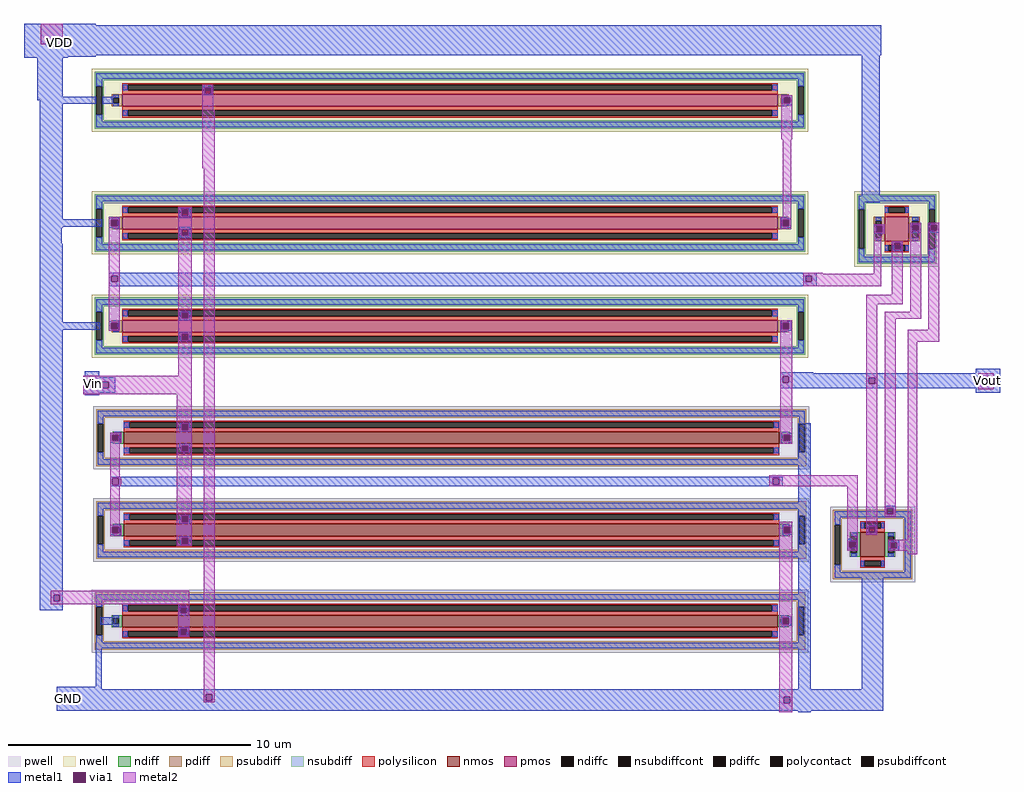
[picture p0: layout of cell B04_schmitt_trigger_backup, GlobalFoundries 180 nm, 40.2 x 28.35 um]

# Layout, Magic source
magic
tech gf180mcuD
magscale 1 10
<< metal1 >>
rect 2240 -1250 2830 -1240
rect 2240 -1500 9300 -1250
rect 2240 -1510 2830 -1500
rect 2240 -1520 2600 -1510
rect 2350 -1840 2560 -1520
rect 3720 -1760 3790 -1757
rect 3710 -1763 3800 -1760
rect 3710 -1815 3729 -1763
rect 3781 -1815 3800 -1763
rect 3710 -1830 3800 -1815
rect 2350 -1870 2837 -1840
rect 2370 -1900 2837 -1870
rect 2883 -1900 2975 -1840
rect 8480 -1844 8570 -1830
rect 8480 -1896 8499 -1844
rect 8551 -1896 8570 -1844
rect 2370 -2850 2560 -1900
rect 8480 -1910 8570 -1896
rect 9140 -2710 9290 -1500
rect 3530 -2769 3600 -2760
rect 3530 -2770 3539 -2769
rect 3520 -2821 3539 -2770
rect 3591 -2770 3600 -2769
rect 3591 -2821 3610 -2770
rect 3520 -2840 3610 -2821
rect 2940 -2850 3000 -2840
rect 2370 -2910 2880 -2850
rect 2940 -2854 3020 -2850
rect 2940 -2906 2959 -2854
rect 3011 -2906 3020 -2854
rect 2940 -2910 3020 -2906
rect 8480 -2854 8560 -2840
rect 8480 -2906 8489 -2854
rect 8541 -2906 8560 -2854
rect 2370 -2920 2560 -2910
rect 2940 -2920 3000 -2910
rect 2370 -3050 2550 -2920
rect 3520 -2934 3610 -2910
rect 8480 -2920 8560 -2906
rect 9240 -2904 9330 -2890
rect 3520 -2986 3539 -2934
rect 3591 -2986 3610 -2934
rect 9240 -2956 9259 -2904
rect 9311 -2956 9330 -2904
rect 9240 -2970 9330 -2956
rect 9540 -2894 9630 -2880
rect 9540 -2946 9559 -2894
rect 9611 -2946 9630 -2894
rect 9540 -2960 9630 -2946
rect 9690 -2894 9780 -2880
rect 9690 -2946 9709 -2894
rect 9761 -2946 9780 -2894
rect 9690 -2960 9780 -2946
rect 3520 -2990 3610 -2986
rect 3530 -3000 3600 -2990
rect 9390 -3044 9480 -3030
rect 2370 -3700 2560 -3050
rect 9390 -3096 9409 -3044
rect 9461 -3096 9480 -3044
rect 9390 -3110 9480 -3096
rect 2940 -3314 8770 -3290
rect 2940 -3366 2959 -3314
rect 3011 -3366 8679 -3314
rect 8731 -3366 8770 -3314
rect 2940 -3400 8770 -3366
rect 3520 -3614 3610 -3610
rect 3520 -3666 3539 -3614
rect 3591 -3666 3610 -3614
rect 3520 -3680 3610 -3666
rect 2940 -3700 2980 -3690
rect 8490 -3700 8560 -3690
rect 2370 -3760 2870 -3700
rect 2940 -3704 3020 -3700
rect 2940 -3756 2959 -3704
rect 3011 -3756 3020 -3704
rect 2940 -3760 3020 -3756
rect 8480 -3704 8560 -3700
rect 8480 -3756 8489 -3704
rect 8541 -3756 8560 -3704
rect 8480 -3760 8560 -3756
rect 2370 -5944 2560 -3760
rect 2940 -3770 2980 -3760
rect 8490 -3770 8560 -3760
rect 3520 -3794 3610 -3780
rect 3520 -3846 3539 -3794
rect 3591 -3846 3610 -3794
rect 3520 -3850 3610 -3846
rect 2740 -4150 2860 -4100
rect 8470 -4120 8740 -4110
rect 10080 -4120 10280 -4080
rect 8470 -4144 10280 -4120
rect 2730 -4189 2990 -4150
rect 2730 -4241 2782 -4189
rect 2938 -4241 2990 -4189
rect 8470 -4196 8489 -4144
rect 8541 -4154 10139 -4144
rect 8541 -4196 9199 -4154
rect 8470 -4206 9199 -4196
rect 9251 -4196 10139 -4154
rect 10191 -4196 10280 -4144
rect 9251 -4206 10280 -4196
rect 8470 -4240 10280 -4206
rect 2730 -4280 2990 -4241
rect 10080 -4280 10280 -4240
rect 2740 -4300 2860 -4280
rect 3530 -4534 3600 -4530
rect 3530 -4560 3539 -4534
rect 3520 -4586 3539 -4560
rect 3591 -4560 3600 -4534
rect 3591 -4586 3610 -4560
rect 3520 -4600 3610 -4586
rect 2950 -4624 3030 -4610
rect 2950 -4676 2969 -4624
rect 3021 -4676 3030 -4624
rect 2950 -4690 3030 -4676
rect 8480 -4620 8560 -4610
rect 8480 -4624 8570 -4620
rect 8480 -4676 8499 -4624
rect 8551 -4676 8570 -4624
rect 8480 -4680 8570 -4676
rect 8480 -4690 8560 -4680
rect 3520 -4714 3610 -4700
rect 3520 -4740 3539 -4714
rect 3530 -4766 3539 -4740
rect 3591 -4740 3610 -4714
rect 3591 -4766 3600 -4740
rect 3530 -4770 3600 -4766
rect 2950 -4984 8490 -4970
rect 2950 -5036 2969 -4984
rect 3021 -5036 8409 -4984
rect 8461 -5036 8490 -4984
rect 2950 -5050 8490 -5036
rect 3530 -5294 3600 -5290
rect 3530 -5320 3539 -5294
rect 3520 -5346 3539 -5320
rect 3591 -5320 3600 -5294
rect 3591 -5346 3610 -5320
rect 3520 -5360 3610 -5346
rect 2950 -5384 3030 -5370
rect 8530 -5380 8570 -5370
rect 2950 -5436 2969 -5384
rect 3021 -5436 3030 -5384
rect 2950 -5450 3030 -5436
rect 8490 -5384 8570 -5380
rect 8490 -5436 8499 -5384
rect 8551 -5436 8570 -5384
rect 8490 -5440 8570 -5436
rect 8530 -5450 8570 -5440
rect 3520 -5474 3610 -5460
rect 3520 -5500 3539 -5474
rect 3530 -5526 3539 -5500
rect 3591 -5500 3610 -5474
rect 3591 -5526 3600 -5500
rect 3530 -5530 3600 -5526
rect 2370 -5996 2484 -5944
rect 2536 -5996 2560 -5944
rect 2370 -6070 2560 -5996
rect 3510 -6044 3600 -6040
rect 3510 -6096 3529 -6044
rect 3581 -6096 3600 -6044
rect 3510 -6110 3600 -6096
rect 2870 -6190 3000 -6130
rect 8480 -6134 8560 -6120
rect 8480 -6186 8489 -6134
rect 8541 -6186 8560 -6134
rect 8480 -6200 8560 -6186
rect 3510 -6224 3600 -6210
rect 3510 -6270 3529 -6224
rect 3520 -6276 3529 -6270
rect 3581 -6270 3600 -6224
rect 3581 -6276 3590 -6270
rect 3520 -6280 3590 -6276
rect 2830 -6700 2880 -6340
rect 2510 -6720 2880 -6700
rect 8620 -6720 8720 -4530
rect 9330 -5229 9420 -5210
rect 9330 -5281 9349 -5229
rect 9401 -5281 9420 -5229
rect 9330 -5290 9420 -5281
rect 9190 -5379 9260 -5370
rect 9190 -5380 9199 -5379
rect 9180 -5431 9199 -5380
rect 9251 -5380 9260 -5379
rect 9251 -5431 9270 -5380
rect 9180 -5450 9270 -5431
rect 9020 -5500 9060 -5480
rect 9020 -5504 9100 -5500
rect 9020 -5556 9039 -5504
rect 9091 -5556 9100 -5504
rect 9020 -5560 9100 -5556
rect 9370 -5509 9450 -5490
rect 9020 -5570 9060 -5560
rect 9370 -5561 9379 -5509
rect 9431 -5561 9450 -5509
rect 9370 -5580 9450 -5561
rect 9140 -6720 9320 -5760
rect 2510 -6764 9320 -6720
rect 2510 -6816 3739 -6764
rect 3791 -6784 9320 -6764
rect 3791 -6816 8499 -6784
rect 2510 -6836 8499 -6816
rect 8551 -6836 9320 -6784
rect 2510 -6900 9320 -6836
rect 8620 -6910 8720 -6900
<< via1 >>
rect 3729 -1815 3781 -1763
rect 8499 -1896 8551 -1844
rect 3539 -2821 3591 -2769
rect 2959 -2906 3011 -2854
rect 8489 -2906 8541 -2854
rect 3539 -2986 3591 -2934
rect 9259 -2956 9311 -2904
rect 9559 -2946 9611 -2894
rect 9709 -2946 9761 -2894
rect 9409 -3096 9461 -3044
rect 2959 -3366 3011 -3314
rect 8679 -3366 8731 -3314
rect 3539 -3666 3591 -3614
rect 2959 -3756 3011 -3704
rect 8489 -3756 8541 -3704
rect 3539 -3846 3591 -3794
rect 2782 -4241 2938 -4189
rect 8489 -4196 8541 -4144
rect 9199 -4206 9251 -4154
rect 10139 -4196 10191 -4144
rect 3539 -4586 3591 -4534
rect 2969 -4676 3021 -4624
rect 8499 -4676 8551 -4624
rect 3539 -4766 3591 -4714
rect 2969 -5036 3021 -4984
rect 8409 -5036 8461 -4984
rect 3539 -5346 3591 -5294
rect 2969 -5436 3021 -5384
rect 8499 -5436 8551 -5384
rect 3539 -5526 3591 -5474
rect 2484 -5996 2536 -5944
rect 3529 -6096 3581 -6044
rect 8489 -6186 8541 -6134
rect 3529 -6276 3581 -6224
rect 9349 -5281 9401 -5229
rect 9199 -5431 9251 -5379
rect 9039 -5556 9091 -5504
rect 9379 -5561 9431 -5509
rect 3739 -6816 3791 -6764
rect 8499 -6836 8551 -6784
<< metal2 >>
rect 2380 -1410 2560 -1240
rect 3710 -1763 3800 -1740
rect 3710 -1815 3729 -1763
rect 3781 -1815 3800 -1763
rect 3710 -1950 3800 -1815
rect 8480 -1844 8570 -1830
rect 8480 -1896 8499 -1844
rect 8551 -1896 8570 -1844
rect 3710 -2430 3810 -1950
rect 8480 -2190 8570 -1896
rect 3510 -2769 3620 -2750
rect 3510 -2821 3539 -2769
rect 3591 -2821 3620 -2769
rect 2940 -2854 3030 -2830
rect 2940 -2906 2959 -2854
rect 3011 -2906 3030 -2854
rect 2940 -3314 3030 -2906
rect 2940 -3366 2959 -3314
rect 3011 -3366 3030 -3314
rect 2940 -3704 3030 -3366
rect 2940 -3756 2959 -3704
rect 3011 -3756 3030 -3704
rect 2940 -3770 3030 -3756
rect 3510 -2934 3620 -2821
rect 3510 -2986 3539 -2934
rect 3591 -2986 3620 -2934
rect 3510 -3614 3620 -2986
rect 3510 -3666 3539 -3614
rect 3591 -3666 3620 -3614
rect 3510 -3794 3620 -3666
rect 3510 -3846 3539 -3794
rect 3591 -3846 3620 -3794
rect 3510 -4140 3620 -3846
rect 2730 -4189 3620 -4140
rect 2730 -4241 2782 -4189
rect 2938 -4241 3620 -4189
rect 2730 -4290 3620 -4241
rect 3500 -4534 3620 -4290
rect 3500 -4586 3539 -4534
rect 3591 -4586 3620 -4534
rect 2950 -4624 3040 -4610
rect 2950 -4676 2969 -4624
rect 3021 -4676 3040 -4624
rect 2950 -4690 3040 -4676
rect 2950 -4970 3030 -4690
rect 3500 -4714 3620 -4586
rect 3500 -4766 3539 -4714
rect 3591 -4766 3620 -4714
rect 2950 -4984 3040 -4970
rect 2950 -5036 2969 -4984
rect 3021 -5036 3040 -4984
rect 2950 -5050 3040 -5036
rect 2950 -5370 3030 -5050
rect 3500 -5294 3620 -4766
rect 3500 -5346 3539 -5294
rect 3591 -5346 3620 -5294
rect 2950 -5384 3040 -5370
rect 2950 -5436 2969 -5384
rect 3021 -5436 3040 -5384
rect 2950 -5460 3040 -5436
rect 3500 -5474 3620 -5346
rect 3500 -5526 3539 -5474
rect 3591 -5526 3620 -5474
rect 3500 -5540 3620 -5526
rect 2460 -5944 3600 -5910
rect 2460 -5996 2484 -5944
rect 2536 -5996 3600 -5944
rect 2460 -6020 3600 -5996
rect 3510 -6044 3600 -6020
rect 3510 -6096 3529 -6044
rect 3581 -6096 3600 -6044
rect 3510 -6224 3600 -6096
rect 3510 -6276 3529 -6224
rect 3581 -6276 3600 -6224
rect 3510 -6290 3600 -6276
rect 3720 -6764 3810 -2430
rect 8490 -2830 8560 -2190
rect 8470 -2854 8560 -2830
rect 8470 -2906 8489 -2854
rect 8541 -2906 8560 -2854
rect 8470 -2930 8560 -2906
rect 9240 -2904 9330 -2890
rect 9240 -2956 9259 -2904
rect 9311 -2956 9330 -2904
rect 9240 -2970 9330 -2956
rect 9540 -2894 9630 -2880
rect 9540 -2946 9559 -2894
rect 9611 -2946 9630 -2894
rect 9240 -2980 9310 -2970
rect 8660 -3300 8820 -3290
rect 9240 -3300 9300 -2980
rect 8660 -3314 9300 -3300
rect 8660 -3366 8679 -3314
rect 8731 -3366 9300 -3314
rect 8660 -3400 9300 -3366
rect 9390 -3044 9480 -3030
rect 9390 -3096 9409 -3044
rect 9461 -3096 9480 -3044
rect 9390 -3470 9480 -3096
rect 9180 -3550 9480 -3470
rect 8470 -3704 8570 -3680
rect 8470 -3756 8489 -3704
rect 8541 -3756 8570 -3704
rect 8470 -4144 8570 -3756
rect 8470 -4196 8489 -4144
rect 8541 -4196 8570 -4144
rect 8470 -4624 8570 -4196
rect 8470 -4676 8499 -4624
rect 8551 -4676 8570 -4624
rect 8470 -4700 8570 -4676
rect 9180 -4154 9270 -3550
rect 9540 -3610 9630 -2946
rect 9180 -4206 9199 -4154
rect 9251 -4206 9270 -4154
rect 8380 -4984 9110 -4960
rect 8380 -5036 8409 -4984
rect 8461 -5036 9110 -4984
rect 8380 -5050 9110 -5036
rect 3720 -6816 3739 -6764
rect 3791 -6816 3810 -6764
rect 3720 -6830 3810 -6816
rect 8460 -5384 8570 -5340
rect 8460 -5436 8499 -5384
rect 8551 -5436 8570 -5384
rect 8460 -6134 8570 -5436
rect 9020 -5504 9110 -5050
rect 9180 -5379 9270 -4206
rect 9330 -3670 9630 -3610
rect 9690 -2894 9780 -2880
rect 9690 -2946 9709 -2894
rect 9761 -2946 9780 -2894
rect 9330 -5229 9420 -3670
rect 9690 -3760 9780 -2946
rect 9330 -5281 9349 -5229
rect 9401 -5281 9420 -5229
rect 9330 -5300 9420 -5281
rect 9520 -3860 9780 -3760
rect 9180 -5431 9199 -5379
rect 9251 -5431 9270 -5379
rect 9180 -5450 9270 -5431
rect 9520 -5490 9600 -3860
rect 10100 -4144 10230 -4120
rect 10100 -4196 10139 -4144
rect 10191 -4196 10230 -4144
rect 10100 -4250 10230 -4196
rect 9020 -5556 9039 -5504
rect 9091 -5556 9110 -5504
rect 9020 -5580 9110 -5556
rect 9360 -5509 9600 -5490
rect 9360 -5561 9379 -5509
rect 9431 -5561 9600 -5509
rect 9360 -5580 9600 -5561
rect 9520 -5610 9600 -5580
rect 8460 -6186 8489 -6134
rect 8541 -6186 8570 -6134
rect 8460 -6784 8570 -6186
rect 8460 -6836 8499 -6784
rect 8551 -6836 8570 -6784
rect 8460 -6910 8570 -6836
use pfet_03v3_C5NPLE  XM1
transform 1 0 5750 0 1 -2880
box -2950 -260 2950 260
use pfet_03v3_C5NPLE  XM2
transform 1 0 5750 0 1 -3730
box -2950 -260 2950 260
use pfet_03v3_9TRV9F  XM3
transform 1 0 9430 0 1 -2930
box -350 -310 350 310
use nfet_03v3_Y6NWY5  XM4
transform 1 0 5760 0 1 -4650
box -2950 -260 2950 260
use nfet_03v3_Y6NWY5  XM5
transform 1 0 5760 0 1 -5410
box -2950 -260 2950 260
use nfet_03v3_GNRYRW  XM6
transform 1 0 9230 0 1 -5530
box -350 -310 350 310
use pfet_03v3_C5NPLE  XM7
transform 1 0 5750 0 1 -1870
box -2950 -260 2950 260
use nfet_03v3_Y6NWY5  XM8
transform 1 0 5750 0 1 -6160
box -2950 -260 2950 260
<< labels >>
flabel metal1 s 2530 -1410 2540 -1380 0 FreeSans 3126 0 0 0 VDD
port 3 nsew
flabel metal1 s 2760 -4300 2860 -4100 0 FreeSans 3126 0 0 0 Vin
port 5 nsew
flabel metal1 s 10080 -4280 10280 -4080 0 FreeSans 3126 0 0 0 Vout
port 7 nsew
flabel metal1 s 2510 -6900 2710 -6700 0 FreeSans 3126 0 0 0 GND
port 9 nsew
<< end >>

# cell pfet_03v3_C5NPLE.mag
magic
tech gf180mcuD
magscale 1 10
<< nwell >>
rect -2950 -260 2950 260
<< pmos >>
rect -2700 -50 2700 50
<< pdiff >>
rect -2788 23 -2700 50
rect -2788 -23 -2775 23
rect -2729 -23 -2700 23
rect -2788 -50 -2700 -23
rect 2700 23 2788 50
rect 2700 -23 2729 23
rect 2775 -23 2788 23
rect 2700 -50 2788 -23
<< pdiffc >>
rect -2775 -23 -2729 23
rect 2729 -23 2775 23
<< nsubdiff >>
rect -2926 164 2926 236
rect -2926 117 -2854 164
rect -2926 -117 -2913 117
rect -2867 -117 -2854 117
rect 2854 117 2926 164
rect -2926 -164 -2854 -117
rect 2854 -117 2867 117
rect 2913 -117 2926 117
rect 2854 -164 2926 -117
rect -2926 -236 2926 -164
<< nsubdiffcont >>
rect -2913 -117 -2867 117
rect 2867 -117 2913 117
<< polysilicon >>
rect -2700 129 2700 142
rect -2700 83 -2655 129
rect 2655 83 2700 129
rect -2700 50 2700 83
rect -2700 -83 2700 -50
rect -2700 -129 -2655 -83
rect 2655 -129 2700 -83
rect -2700 -142 2700 -129
<< polycontact >>
rect -2655 83 2655 129
rect -2655 -129 2655 -83
<< metal1 >>
rect -2913 177 2913 223
rect -2913 117 -2867 177
rect -2698 83 -2655 129
rect 2655 83 2698 129
rect 2867 117 2913 177
rect -2775 23 -2729 48
rect -2775 -48 -2729 -23
rect 2729 23 2775 48
rect 2729 -48 2775 -23
rect -2913 -177 -2867 -117
rect -2698 -129 -2655 -83
rect 2655 -129 2698 -83
rect 2867 -177 2913 -117
rect -2913 -223 2913 -177
<< properties >>
string FIXED_BBOX -2890 -200 2890 200
<< end >>

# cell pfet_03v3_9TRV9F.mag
magic
tech gf180mcuD
magscale 1 10
<< nwell >>
rect -350 -310 350 310
<< pmos >>
rect -100 -100 100 100
<< pdiff >>
rect -188 70 -100 100
rect -188 -70 -175 70
rect -129 -70 -100 70
rect -188 -100 -100 -70
rect 100 70 188 100
rect 100 -70 129 70
rect 175 -70 188 70
rect 100 -100 188 -70
<< pdiffc >>
rect -175 -70 -129 70
rect 129 -70 175 70
<< nsubdiff >>
rect -326 214 326 286
rect -326 164 -254 214
rect -326 -164 -313 164
rect -267 -164 -254 164
rect 254 164 326 214
rect -326 -214 -254 -164
rect 254 -164 267 164
rect 313 -164 326 164
rect 254 -214 326 -164
rect -326 -286 326 -214
<< nsubdiffcont >>
rect -313 -164 -267 164
rect 267 -164 313 164
<< polysilicon >>
rect -100 179 100 192
rect -100 133 -70 179
rect 70 133 100 179
rect -100 100 100 133
rect -100 -133 100 -100
rect -100 -179 -70 -133
rect 70 -179 100 -133
rect -100 -192 100 -179
<< polycontact >>
rect -70 133 70 179
rect -70 -179 70 -133
<< metal1 >>
rect -313 227 313 273
rect -313 164 -267 227
rect -98 133 -70 179
rect 70 133 98 179
rect 267 164 313 227
rect -175 70 -129 98
rect -175 -98 -129 -70
rect 129 70 175 98
rect 129 -98 175 -70
rect -313 -227 -267 -164
rect -98 -179 -70 -133
rect 70 -179 98 -133
rect 267 -227 313 -164
rect -313 -273 313 -227
<< properties >>
string FIXED_BBOX -290 -250 290 250
<< end >>

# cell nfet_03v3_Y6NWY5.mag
magic
tech gf180mcuD
magscale 1 10
<< pwell >>
rect -2950 -260 2950 260
<< nmos >>
rect -2700 -50 2700 50
<< ndiff >>
rect -2788 23 -2700 50
rect -2788 -23 -2775 23
rect -2729 -23 -2700 23
rect -2788 -50 -2700 -23
rect 2700 23 2788 50
rect 2700 -23 2729 23
rect 2775 -23 2788 23
rect 2700 -50 2788 -23
<< ndiffc >>
rect -2775 -23 -2729 23
rect 2729 -23 2775 23
<< psubdiff >>
rect -2926 164 2926 236
rect -2926 117 -2854 164
rect -2926 -117 -2913 117
rect -2867 -117 -2854 117
rect 2854 117 2926 164
rect -2926 -164 -2854 -117
rect 2854 -117 2867 117
rect 2913 -117 2926 117
rect 2854 -164 2926 -117
rect -2926 -236 2926 -164
<< psubdiffcont >>
rect -2913 -117 -2867 117
rect 2867 -117 2913 117
<< polysilicon >>
rect -2700 129 2700 142
rect -2700 83 -2655 129
rect 2655 83 2700 129
rect -2700 50 2700 83
rect -2700 -83 2700 -50
rect -2700 -129 -2655 -83
rect 2655 -129 2700 -83
rect -2700 -142 2700 -129
<< polycontact >>
rect -2655 83 2655 129
rect -2655 -129 2655 -83
<< metal1 >>
rect -2913 177 2913 223
rect -2913 117 -2867 177
rect -2698 83 -2655 129
rect 2655 83 2698 129
rect 2867 117 2913 177
rect -2775 23 -2729 48
rect -2775 -48 -2729 -23
rect 2729 23 2775 48
rect 2729 -48 2775 -23
rect -2913 -177 -2867 -117
rect -2698 -129 -2655 -83
rect 2655 -129 2698 -83
rect 2867 -177 2913 -117
rect -2913 -223 2913 -177
<< properties >>
string FIXED_BBOX -2890 -200 2890 200
<< end >>

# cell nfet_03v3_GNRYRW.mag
magic
tech gf180mcuD
magscale 1 10
<< pwell >>
rect -350 -310 350 310
<< nmos >>
rect -100 -100 100 100
<< ndiff >>
rect -188 70 -100 100
rect -188 -70 -175 70
rect -129 -70 -100 70
rect -188 -100 -100 -70
rect 100 70 188 100
rect 100 -70 129 70
rect 175 -70 188 70
rect 100 -100 188 -70
<< ndiffc >>
rect -175 -70 -129 70
rect 129 -70 175 70
<< psubdiff >>
rect -326 214 326 286
rect -326 164 -254 214
rect -326 -164 -313 164
rect -267 -164 -254 164
rect -326 -214 -254 -164
rect 254 -214 326 214
rect -326 -286 326 -214
<< psubdiffcont >>
rect -313 -164 -267 164
<< polysilicon >>
rect -100 179 100 192
rect -100 133 -70 179
rect 70 133 100 179
rect -100 100 100 133
rect -100 -133 100 -100
rect -100 -179 -70 -133
rect 70 -179 100 -133
rect -100 -192 100 -179
<< polycontact >>
rect -70 133 70 179
rect -70 -179 70 -133
<< metal1 >>
rect -313 227 313 273
rect -313 164 -267 227
rect -98 133 -70 179
rect 70 133 98 179
rect -175 70 -129 98
rect -175 -98 -129 -70
rect 129 70 175 98
rect 129 -98 175 -70
rect -313 -227 -267 -164
rect -98 -179 -70 -133
rect 70 -179 98 -133
rect 267 -227 313 227
rect -313 -273 313 -227
<< properties >>
string FIXED_BBOX -290 -250 290 250
<< end >>
